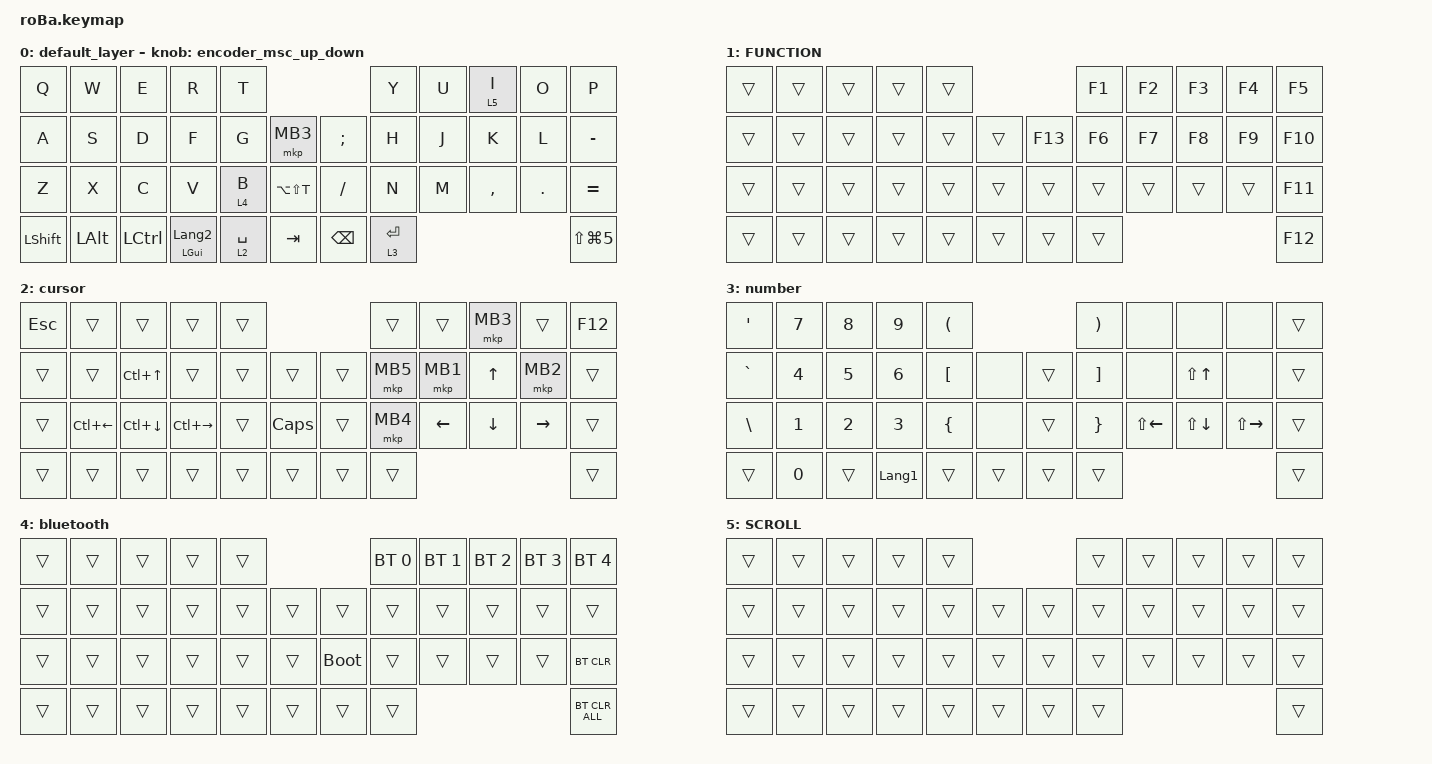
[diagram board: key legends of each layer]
#include <behaviors.dtsi>
#include <dt-bindings/zmk/bt.h>
#include <dt-bindings/zmk/keys.h>
#include <dt-bindings/zmk/pointing.h>

#define ZMK_POINTING_DEFAULT_SCRL_VAL 80

&mt {
    flavor = "balanced";
    quick-tap-ms = <0>;
};

&trackball {
    // automouse-layer = <2>;

    scroll-layers = <5>;

    // arrows {
    //     layers = <3>;
    //     bindings =
    //         <&kp RIGHT_ARROW>,
    //         <&kp LEFT_ARROW>,
    //         <&kp UP_ARROW>,
    //         <&kp DOWN_ARROW>;
    //     tick = <10>;
    //     wait-ms = <5>;
    //     tap-ms = <5>;
    // };
};

/ {
    combos { compatible = "zmk,combos"; };

    behaviors {
        encoder_msc_up_down: encoder_msc_up_down {
            compatible = "zmk,behavior-sensor-rotate";
            label = "ENCODER_MSC_UP_DOWN";
            #sensor-binding-cells = <0>;
            bindings = <&msc SCRL_UP>, <&msc SCRL_DOWN>;

            tap-ms = <20>;
        };
    };

    macros {
        mac_setup: osx_setup {
            compatible = "zmk,behavior-macro";
            #binding-cells = <0>;
            bindings = <&bt BT_SEL 0 &tog 0>;
            label = "OSX_SETUP";
        };

        win_setup: win_setup {
            compatible = "zmk,behavior-macro";
            #binding-cells = <0>;
            bindings = <&bt BT_SEL 1 &tog 1>;
            label = "WIN_SETUP";
        };
    };

    keymap {
        compatible = "zmk,keymap";

        default_layer {
            bindings = <
&kp Q           &kp W         &kp E             &kp R                    &kp T                                          &kp Y        &kp U  &lt 5 I    &kp O    &kp P
&kp A           &kp S         &kp D             &kp F                    &kp G        &mkp MB3           &kp SEMICOLON  &kp H        &kp J  &kp K      &kp L    &kp MINUS
&kp Z           &kp X         &kp C             &kp V                    &lt 4 B      &kp LA(LS(T))      &kp SLASH      &kp N        &kp M  &kp COMMA  &kp DOT  &kp EQUAL
&kp LEFT_SHIFT  &kp LEFT_ALT  &kp LEFT_CONTROL  &mt LEFT_GUI LANGUAGE_2  &lt 2 SPACE  &kp TAB            &kp BACKSPACE  &lt 3 ENTER                             &kp LS(LG(N5))
            >;

            sensor-bindings = <&encoder_msc_up_down>;
        };

        FUNCTION {
            bindings = <
&trans  &trans  &trans  &trans  &trans                       &kp F1  &kp F2  &kp F3  &kp F4  &kp F5
&trans  &trans  &trans  &trans  &trans  &trans      &kp F13  &kp F6  &kp F7  &kp F8  &kp F9  &kp F10
&trans  &trans  &trans  &trans  &trans  &trans      &trans   &trans  &trans  &trans  &trans  &kp F11
&trans  &trans  &trans  &trans  &trans  &trans      &trans   &trans                          &kp F12
            >;
        };

        cursor {
            bindings = <
&kp ESC  &trans              &trans            &trans         &trans                            &trans    &trans    &mkp MB3  &trans     &kp F12
&trans   &trans              &kp LC(UP_ARROW)  &trans         &trans  &trans            &trans  &mkp MB5  &mkp MB1  &kp UP    &mkp MB2   &trans
&trans   &kp LC(LEFT_ARROW)  &kp LC(DOWN)      &kp LC(RIGHT)  &trans  &kp CAPSLOCK      &trans  &mkp MB4  &kp LEFT  &kp DOWN  &kp RIGHT  &trans
&trans   &trans              &trans            &trans         &trans  &trans            &trans  &trans                                   &trans
            >;
        };

        number {
            bindings = <
&kp SQT        &kp N7        &kp N8        &kp N9          &kp LEFT_PARENTHESIS                      &kp RIGHT_PARENTHESIS  &none         &none             &none          &trans
&kp GRAVE      &kp NUMBER_4  &kp N5        &kp NUMBER_6    &kp LEFT_BRACKET      &none       &trans  &kp RIGHT_BRACKET      &none         &kp LS(UP_ARROW)  &none          &trans
&kp BACKSLASH  &kp NUMBER_1  &kp NUMBER_2  &kp NUMBER_3    &kp LEFT_BRACE        &none       &trans  &kp RIGHT_BRACE        &kp LS(LEFT)  &kp LS(DOWN)      &kp LS(RIGHT)  &trans
&trans         &kp N0        &trans        &kp LANGUAGE_1  &trans                &trans      &trans  &trans                                                                &trans
            >;
        };

        bluetooth {
            bindings = <
&trans  &trans  &trans  &trans  &trans                           &bt BT_SEL 0  &bt BT_SEL 1  &bt BT_SEL 2  &bt BT_SEL 3  &bt BT_SEL 4
&trans  &trans  &trans  &trans  &trans  &trans      &trans       &trans        &trans        &trans        &trans        &trans
&trans  &trans  &trans  &trans  &trans  &trans      &bootloader  &trans        &trans        &trans        &trans        &bt BT_CLR
&trans  &trans  &trans  &trans  &trans  &trans      &trans       &trans                                                  &bt BT_CLR_ALL
            >;
        };

        SCROLL {
            bindings = <
&trans  &trans  &trans  &trans  &trans                      &trans  &trans  &trans  &trans  &trans
&trans  &trans  &trans  &trans  &trans  &trans      &trans  &trans  &trans  &trans  &trans  &trans
&trans  &trans  &trans  &trans  &trans  &trans      &trans  &trans  &trans  &trans  &trans  &trans
&trans  &trans  &trans  &trans  &trans  &trans      &trans  &trans                          &trans
            >;
        };
    };
};
